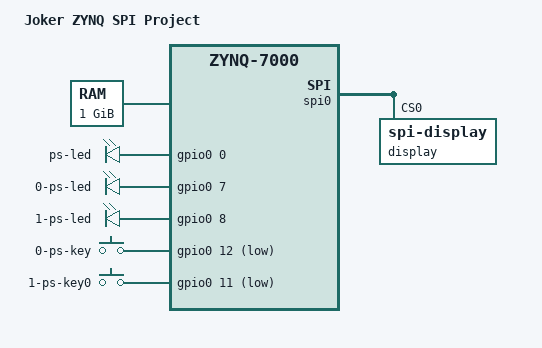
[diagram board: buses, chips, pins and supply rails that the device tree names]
/dts-v1/;
#include <dt-bindings/gpio/gpio.h>
#include "zynq-7000.dtsi"
#include "pcw.dtsi"

/ {
    model = "Joker ZYNQ SPI Project";
    compatible = "xlnx,zynq-7000";

    chosen {
        bootargs = "console=ttyPS0,115200 root=/dev/mmcblk0p2 rootwait rw rootfstype=ext4";
        stdout-path = "serial0:115200n8";
    };

    aliases {
		eth0    = &gem0;
		serial0 = &uart0;
		flash   = &qspi;
		spi0    = &spi0;
		gpio0   = &gpio0;
    };

    memory {
		device_type = "memory";
		reg = <0x0 0x40000000>;
	};

    leds {
        compatible = "gpio-leds";

        ps-led {
            label = "ps-led";
            gpios = <&gpio0 0 GPIO_ACTIVE_HIGH>;
            default-state = "on";
        };

        ps-led0 {
            label = "0-ps-led";
            gpios = <&gpio0 7 GPIO_ACTIVE_HIGH>;
            default-state = "on";
        };

        ps-led1 {
            label = "1-ps-led";
            gpios = <&gpio0 8 GPIO_ACTIVE_HIGH>;
            default-state = "on";
        };
    };

    keys {
        compatible = "gpio-keys";
        autorepeat;

        ps-key0 {
			label = "0-ps-key";
			gpios = <&gpio0 12 GPIO_ACTIVE_LOW>;
			linux,code = <103>; // Up
			debounce-interval = <20>;
		};

		ps-key1 {
			label = "1-ps-key0";
			gpios = <&gpio0 11 GPIO_ACTIVE_LOW>;
			linux,code = <108>; // Down
			debounce-interval = <20>;
		};
    };
};

&spi0 {
    display@0 {
        compatible = "spi-display";
        reg = <0>;
    };
};
